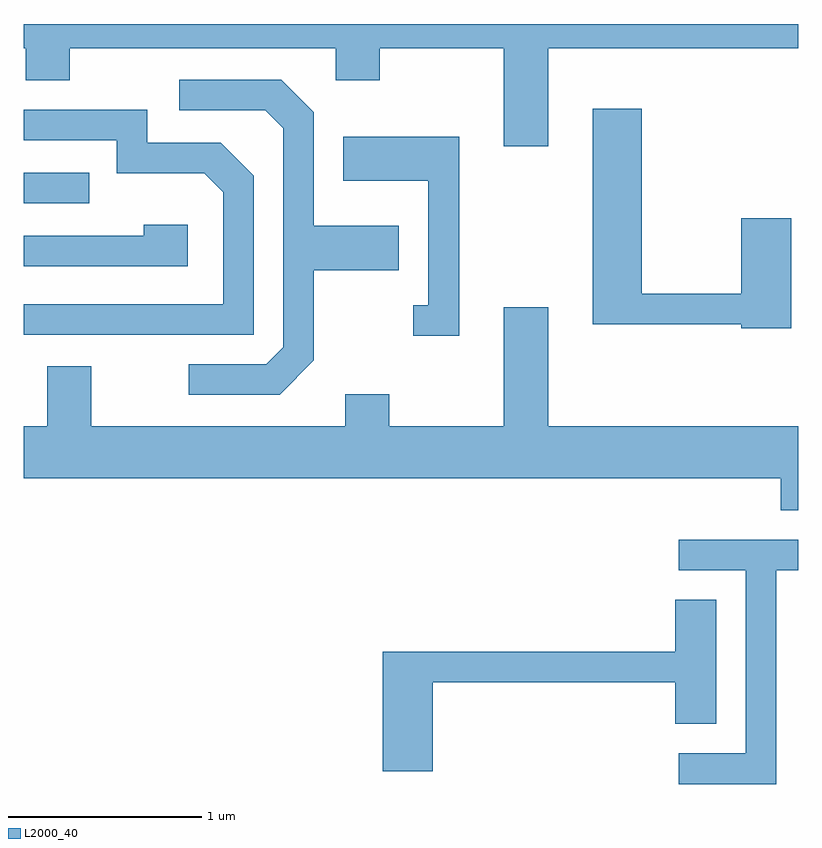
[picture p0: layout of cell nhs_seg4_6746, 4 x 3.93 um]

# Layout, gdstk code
import gdstk
lib = gdstk.Library(unit=1e-6, precision=1e-09)
def R(c, l, rs):  # rectangles x0, y0, x1, y1
    for r in rs: c.add(gdstk.rectangle(r[:2], r[2:], *l))
def P(c, l, *ps):  # polygons
    for p in ps: c.add(gdstk.Polygon(p, *l))
L2000_40 = (2000, 40)

nhs_seg4_6746 = lib.new_cell('nhs_seg4_6746')
R(nhs_seg4_6746, L2000_40, [(383.611,1285.056,383.948,1285.214)])
P(nhs_seg4_6746, L2000_40, [(386.319,1285.856),(387.611,1285.856),(387.611,1285.982),(383.611,1285.982),(383.611,1285.856),(383.621,1285.856),(383.621,1285.691),(383.849,1285.691),(383.849,1285.856),(385.221,1285.856),(385.221,1285.691),(385.449,1285.691),(385.449,1285.856),(386.091,1285.856),(386.091,1285.351),(386.319,1285.351)],
  [(385.109,1284.244),(385.109,1284.711),(385.549,1284.711),(385.549,1284.939),(385.109,1284.939),(385.109,1285.527),(384.942,1285.694),(384.413,1285.694),(384.413,1285.536),(384.859,1285.536),(384.951,1285.444),(384.951,1284.312),(384.864,1284.224),(384.463,1284.224),(384.463,1284.066),(384.932,1284.066)],
  [(387.574,1284.979),(387.316,1284.979),(387.316,1284.589),(386.804,1284.589),(386.804,1285.544),(386.551,1285.544),(386.551,1284.431),(387.316,1284.431),(387.316,1284.411),(387.574,1284.411)],
  [(384.799,1285.197),(384.627,1285.369),(384.249,1285.369),(384.249,1285.539),(383.611,1285.539),(383.611,1285.381),(384.091,1285.381),(384.091,1285.211),(384.544,1285.211),(384.641,1285.114),(384.641,1284.534),(383.611,1284.534),(383.611,1284.376),(384.799,1284.376)],
  [(385.859,1285.399),(385.261,1285.399),(385.261,1285.171),(385.701,1285.171),(385.701,1284.529),(385.623,1284.529),(385.623,1284.371),(385.859,1284.371)],
  [(384.459,1284.944),(384.231,1284.944),(384.231,1284.889),(383.611,1284.889),(383.611,1284.731),(384.459,1284.731)],
  [(387.611,1283.904),(386.319,1283.904),(386.319,1284.519),(386.091,1284.519),(386.091,1283.904),(385.499,1283.904),(385.499,1284.069),(385.271,1284.069),(385.271,1283.904),(383.959,1283.904),(383.959,1284.214),(383.731,1284.214),(383.731,1283.904),(383.611,1283.904),(383.611,1283.636),(387.521,1283.636),(387.521,1283.471),(387.611,1283.471)],
  [(387.499,1283.161),(387.611,1283.161),(387.611,1283.319),(386.993,1283.319),(386.993,1283.161),(387.341,1283.161),(387.341,1282.214),(386.993,1282.214),(386.993,1282.056),(387.499,1282.056)],
  [(385.724,1282.581),(386.976,1282.581),(386.976,1282.366),(387.189,1282.366),(387.189,1283.009),(386.976,1283.009),(386.976,1282.739),(385.466,1282.739),(385.466,1282.121),(385.724,1282.121)])

lib.write_gds('nhs_seg4_6746.gds')
